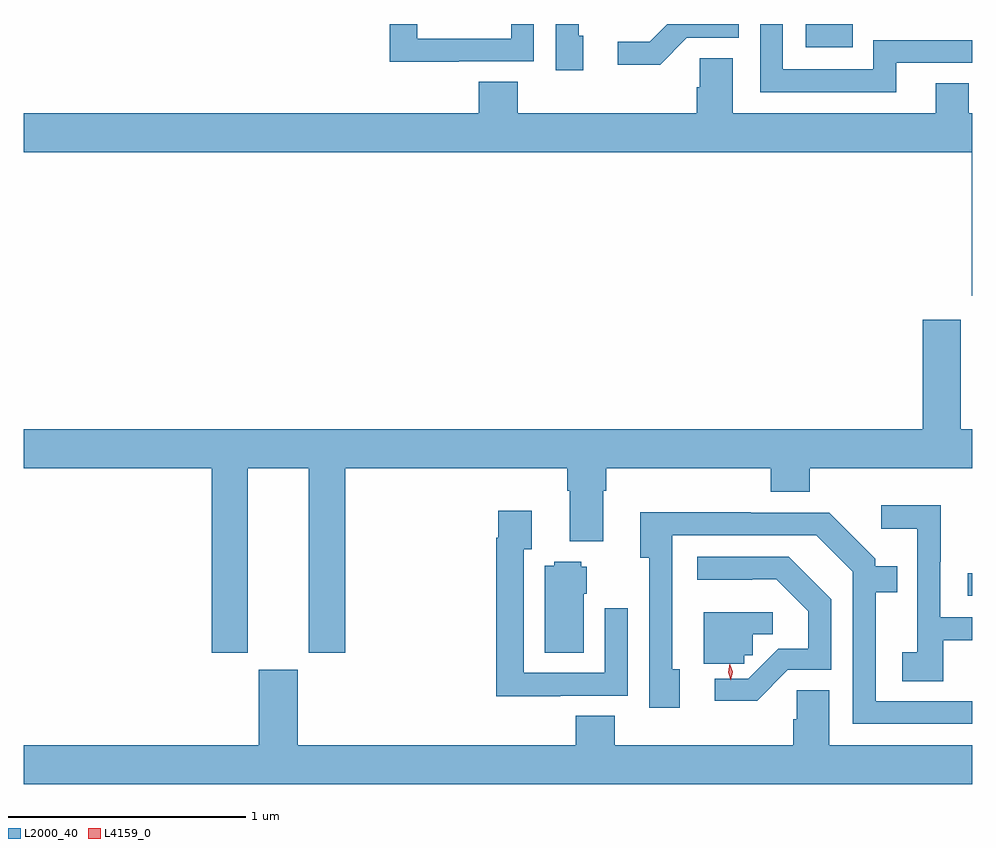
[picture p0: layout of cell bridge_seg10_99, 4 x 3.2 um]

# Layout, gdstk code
import gdstk
lib = gdstk.Library(unit=1e-6, precision=1e-09)
def R(c, l, rs):  # rectangles x0, y0, x1, y1
    for r in rs: c.add(gdstk.rectangle(r[:2], r[2:], *l))
def P(c, l, *ps):  # polygons
    for p in ps: c.add(gdstk.Polygon(p, *l))
L2000_40 = (2000, 40)
L4159_0 = (4159, 0)

bridge_seg10_99 = lib.new_cell('bridge_seg10_99')
R(bridge_seg10_99, L2000_40, [(499.665,1315.761,499.684,1315.857), (498.981,1318.073,499.179,1318.172)])
P(bridge_seg10_99, L2000_40, [(498.043,1318.122),(498.024,1318.122),(498.024,1318.172),(497.928,1318.172),(497.928,1317.978),(498.043,1317.978)],
  [(498.48,1318.113),(498.699,1318.113),(498.699,1318.172),(498.397,1318.172),(498.323,1318.098),(498.189,1318.098),(498.189,1318.001),(498.367,1318.001)],
  [(497.519,1318.014),(497.835,1318.014),(497.835,1318.172),(497.739,1318.172),(497.739,1318.11),(497.343,1318.11),(497.343,1318.172),(497.227,1318.172),(497.227,1318.013),(497.519,1318.013)],
  [(499.363,1318.008),(499.684,1318.008),(499.684,1318.104),(499.266,1318.104),(499.266,1317.981),(498.885,1317.981),(498.885,1318.172),(498.789,1318.172),(498.789,1317.885),(499.363,1317.885)],
  [(499.684,1317.796),(499.668,1317.796),(499.668,1317.923),(499.529,1317.923),(499.529,1317.796),(498.673,1317.796),(498.673,1318.028),(498.534,1318.028),(498.534,1317.905),(498.521,1317.905),(498.521,1317.796),(497.768,1317.796),(497.768,1317.929),(497.603,1317.929),(497.603,1317.796),(495.684,1317.796),(495.684,1317.632),(499.682,1317.632),(499.682,1317.026),(499.684,1317.026)],
  [(496.63,1316.3),(496.886,1316.3),(496.886,1315.521),(497.039,1315.521),(497.039,1316.3),(497.975,1316.3),(497.975,1316.204),(497.987,1316.204),(497.987,1315.991),(498.127,1315.991),(498.127,1316.204),(498.14,1316.204),(498.14,1316.3),(498.833,1316.3),(498.833,1316.201),(498.998,1316.201),(498.998,1316.3),(499.684,1316.3),(499.684,1316.464),(499.635,1316.464),(499.635,1316.926),(499.475,1316.926),(499.475,1316.464),(495.684,1316.464),(495.684,1316.3),(496.478,1316.3),(496.478,1315.521),(496.63,1315.521)],
  [(499.561,1315.573),(499.684,1315.573),(499.684,1315.671),(499.548,1315.671),(499.548,1315.904),(499.551,1315.904),(499.551,1316.143),(499.299,1316.143),(499.299,1316.045),(499.452,1316.045),(499.452,1315.524),(499.389,1315.524),(499.389,1315.402),(499.561,1315.402)],
  [(497.947,1315.341),(498.231,1315.341),(498.231,1315.708),(498.135,1315.708),(498.135,1315.437),(497.793,1315.437),(497.793,1315.958),(497.827,1315.958),(497.827,1316.119),(497.685,1316.119),(497.685,1316.006),(497.677,1316.006),(497.677,1315.337),(497.947,1315.337)],
  [(499.684,1315.317),(499.276,1315.317),(499.276,1315.776),(499.367,1315.776),(499.367,1315.885),(499.275,1315.885),(499.275,1315.917),(499.08,1316.112),(498.749,1316.112),(498.749,1316.114),(498.284,1316.114),(498.284,1315.922),(498.321,1315.922),(498.321,1315.29),(498.451,1315.29),(498.451,1315.451),(498.418,1315.451),(498.418,1316.016),(499.026,1316.016),(499.179,1315.863),(499.179,1315.221),(499.684,1315.221)],
  [(498.906,1315.449),(499.089,1315.449),(499.089,1315.747),(498.91,1315.926),(498.525,1315.926),(498.525,1315.829),(498.755,1315.829),(498.755,1315.832),(498.857,1315.832),(498.993,1315.696),(498.993,1315.538),(498.865,1315.538),(498.739,1315.412),(498.597,1315.412),(498.597,1315.319),(498.776,1315.319)],
  [(498.046,1315.77),(498.058,1315.77),(498.058,1315.884),(498.036,1315.884),(498.036,1315.906),(497.922,1315.906),(497.922,1315.888),(497.882,1315.888),(497.882,1315.522),(498.046,1315.522)],
  [(498.722,1315.511),(498.758,1315.511),(498.758,1315.599),(498.843,1315.599),(498.843,1315.692),(498.551,1315.692),(498.551,1315.475),(498.722,1315.475)],
  [(499.684,1315.132),(499.081,1315.132),(499.081,1315.364),(498.943,1315.364),(498.943,1315.242),(498.929,1315.242),(498.929,1315.132),(498.176,1315.132),(498.176,1315.256),(498.011,1315.256),(498.011,1315.132),(496.84,1315.132),(496.84,1315.449),(496.676,1315.449),(496.676,1315.132),(495.684,1315.132),(495.684,1314.968),(499.684,1314.968)])
P(bridge_seg10_99, L4159_0, [(498.666,1315.405),(498.666,1315.406),(498.654,1315.44),(498.661,1315.476),(498.661,1315.476),(498.661,1315.476),(498.674,1315.442),(498.666,1315.406)])

lib.write_gds('bridge_seg10_99.gds')
